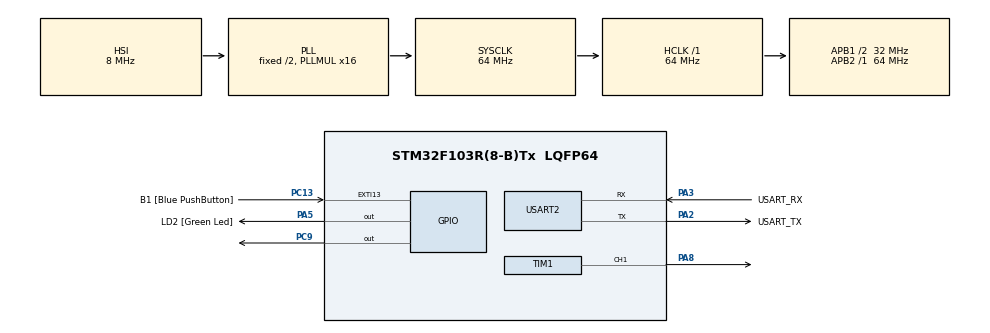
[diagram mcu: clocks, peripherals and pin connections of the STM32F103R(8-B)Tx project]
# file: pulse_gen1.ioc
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Mcu.Family=STM32F1
Mcu.Name=STM32F103R(8-B)Tx
Mcu.Package=LQFP64
NVIC.EXTI15_10_IRQn=true\:0\:0\:false\:false\:true\:true\:true\:true
NVIC.PriorityGroup=NVIC_PRIORITYGROUP_4
NVIC.TIM1_TRG_COM_IRQn=true\:0\:0\:false\:false\:true\:true\:true\:true
PA13.GPIO_Label=TMS
PA13.Mode=Serial_Wire
PA13.Signal=SYS_JTMS-SWDIO
PA14.GPIO_Label=TCK
PA14.Mode=Serial_Wire
PA14.Signal=SYS_JTCK-SWCLK
PA2.GPIO_Label=USART_TX
PA2.GPIO_Mode=GPIO_MODE_AF_PP
PA2.GPIO_PuPd=GPIO_NOPULL
PA2.GPIO_Speed=GPIO_SPEED_FREQ_LOW
PA2.Mode=Asynchronous
PA2.Signal=USART2_TX
PA3.GPIO_Label=USART_RX
PA3.GPIO_Mode=GPIO_MODE_AF_PP
PA3.GPIO_PuPd=GPIO_NOPULL
PA3.GPIO_Speed=GPIO_SPEED_FREQ_LOW
PA3.Mode=Asynchronous
PA3.Signal=USART2_RX
PA5.GPIO_Label=LD2 [Green Led]
PA5.GPIO_ModeDefaultOutputPP=GPIO_MODE_OUTPUT_PP
PA5.GPIO_PuPd=GPIO_NOPULL
PA5.GPIO_Speed=GPIO_SPEED_FREQ_LOW
PA5.Signal=GPIO_Output
PA8.GPIO_Speed=GPIO_SPEED_FREQ_HIGH
PA8.Signal=S_TIM1_CH1
PB3.GPIO_Label=SWO
PB3.Signal=SYS_JTDO-TRACESWO
PC13-TAMPER-RTC.GPIO_Label=B1 [Blue PushButton]
PC13-TAMPER-RTC.GPIO_PuPd=GPIO_NOPULL
PC13-TAMPER-RTC.Signal=GPXTI13
PC14-OSC32_IN.Mode=LSE-External-Oscillator
PC14-OSC32_IN.Signal=RCC_OSC32_IN
PC15-OSC32_OUT.Mode=LSE-External-Oscillator
PC15-OSC32_OUT.Signal=RCC_OSC32_OUT
PC9.Signal=GPIO_Output
PD0-OSC_IN.Mode=HSE-External-Clock-Source
PD0-OSC_IN.Signal=RCC_OSC_IN
PD1-OSC_OUT.Mode=HSE-External-Clock-Source
PD1-OSC_OUT.Signal=RCC_OSC_OUT
ProjectManager.HeapSize=0x200
ProjectManager.StackSize=0x400
ProjectManager.TargetToolchain=STM32CubeIDE
RCC.AHBFreq_Value=64000000
RCC.APB1CLKDivider=RCC_HCLK_DIV2
RCC.APB1Freq_Value=32000000
RCC.APB1TimFreq_Value=64000000
RCC.APB2Freq_Value=64000000
RCC.APB2TimFreq_Value=64000000
RCC.HCLKFreq_Value=64000000
RCC.PLLMUL=RCC_PLL_MUL16
RCC.RTCClockSelection=RCC_RTCCLKSOURCE_LSE
RCC.SYSCLKFreq_VALUE=64000000
RCC.SYSCLKSource=RCC_SYSCLKSOURCE_PLLCLK
RCC.USBFreq_Value=64000000
SH.S_TIM1_CH1.0=TIM1_CH1,PWM Generation1 CH1
TIM1.AutoReloadPreload=TIM_AUTORELOAD_PRELOAD_ENABLE
TIM1.Channel-PWM\ Generation1\ CH1=TIM_CHANNEL_1
TIM1.ClockDivision=TIM_CLOCKDIVISION_DIV1
TIM1.Period=63999
TIM1.Prescaler=0
USART2.VirtualMode=VM_ASYNC
VP_TIM1_VS_ClockSourceINT.Mode=Internal
board=NUCLEO-F103RB

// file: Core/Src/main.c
/* USER CODE BEGIN Header */
/**
  ******************************************************************************
  * @file           : main.c
  * @brief          : Main program body
  ******************************************************************************
  * @attention
  *
  * Copyright (c) 2024 STMicroelectronics.
  * All rights reserved.
  *
  * This software is licensed under terms that can be found in the LICENSE file
  * in the root directory of this software component.
  * If no LICENSE file comes with this software, it is provided AS-IS.
  *
  ******************************************************************************
  */
/* USER CODE END Header */
#include "main.h"

/* USER CODE BEGIN Includes */
#include <inttypes.h>

/* USER CODE END Includes */

/* USER CODE BEGIN PD */

// parametric variables

#define PULSE_DURATION 100

#define DUTY 			50

#define TRIANGLE_UP 	70
#define TRIANGLE_DOWN 	50

#define TRAPEZE_UP 		25
#define TRAPEZE_DOWN 	25

// const variables

#define MAX_CCR 64000

#define TRIANGLE_UP_DURATION 	TRIANGLE_UP
#define TRIANGLE_DOWN_DURATION 	TRIANGLE_DOWN

#define TRAPEZE_UP_DURATION 	PULSE_DURATION - \
								TRAPEZE_UP - \
								TRAPEZE_DOWN

#define UP_DURATION 	(PULSE_DURATION - (PULSE_DURATION/100)*(100-DUTY))

/* USER CODE END PD */

TIM_HandleTypeDef htim1;

UART_HandleTypeDef huart2;

/* USER CODE BEGIN PV */

// mode variable. 0 - pulse, 1 - triangle, 2 - trapeze
uint8_t mode;
// directional. 0 - default
uint8_t direction = 0;
uint16_t start_time = 0;

/* USER CODE END PV */

void SystemClock_Config(void);
static void MX_GPIO_Init(void);
static void MX_USART2_UART_Init(void);
static void MX_TIM1_Init(void);

int main(void)
{

  /* MCU Configuration--------------------------------------------------------*/

  /* Reset of all peripherals, Initializes the Flash interface and the Systick. */
  HAL_Init();

  /* Configure the system clock */
  SystemClock_Config();

  /* Initialize all configured peripherals */
  MX_GPIO_Init();
  MX_USART2_UART_Init();
  MX_TIM1_Init();
  /* USER CODE BEGIN 2 */

  mode = 0; // init mode. pulse
  uint32_t i = 0;

  // var for trianlge
  uint8_t test_triangle = 0;
  uint32_t triangle_cur_time = 0;
  uint32_t triangle_up_time = 0;
  uint32_t step_count = 0; // num of write iteration in 1ms
  uint16_t i_step_up = 0;
  uint16_t i_step_down = 0;

  // var for trapeze and
  uint32_t trapeze_up_time = 0;
  uint8_t test_trapeze = 0;

//  uint16_t cur_time = HAL_GetTick();
  uint16_t up_time = 0;

  /* USER CODE END 2 */

  /* Infinite loop */
  /* USER CODE BEGIN WHILE */
  HAL_TIM_PWM_Start(&htim1, TIM_CHANNEL_1);

  while (1)
  {
	  HAL_GPIO_TogglePin(GPIOC , GPIO_PIN_9);

	  if(mode == 0)	// pulse
	  {
		  if(direction == 0)
		  {
			  if(start_time == 0)
				  start_time = HAL_GetTick();

			  up_time = HAL_GetTick();

			  if(up_time - start_time == UP_DURATION)
			  {
				  TIM1->CCR1=MAX_CCR;
				  direction = 1;
			  }
		  }
		  else
		  {
			  up_time = HAL_GetTick();

			  if(up_time - start_time >= PULSE_DURATION)
			  {
				  TIM1->CCR1= 0;
				  direction = 0;
				  start_time = 0;
			  }
		  }
	  }
	  else if(mode == 1)	//	triangle
	  {
		  if(test_triangle == 0)
		  {

			  if(triangle_cur_time == 0)
			  {
				  triangle_cur_time = HAL_GetTick();
				  i = 0;
			  }

			  if(direction == 0)
			  {
				  TIM1->CCR1=++i;
				  if(i >= MAX_CCR)
				  {
					  direction = 1;
					  triangle_up_time = HAL_GetTick() - triangle_cur_time;
				  }
			  }
			  else
			  {
				  TIM1->CCR1=--i;
				  if(i == 0)
					  direction = 0;

				  test_triangle = 1;
			  }

			  if(test_triangle == 1)
			  {
				  step_count = (MAX_CCR / triangle_up_time) * TRIANGLE_UP;
				  i_step_up = MAX_CCR / step_count;
				  i_step_down = triangle_up_time / TRIANGLE_DOWN;
			  }
		  }
		  else
		  {
			  if(direction == 0)
			  {
				  TIM1->CCR1=i;
				  i=i+i_step_up;
				  if(i >= MAX_CCR)
					  direction = 1;
			  }
			  else
			  {
				  TIM1->CCR1=i;
				  i=i-i_step_down;
				  if(i <= i_step_down)
					  direction = 0;
			  }
		  }

	  }
	  else if(mode == 2)	// trapeze
	  {
		  if(test_trapeze == 0)
		  {
			  i = 0;
			  step_count = (MAX_CCR / triangle_up_time) * TRAPEZE_UP;
			  i_step_up = MAX_CCR / step_count;
			  i_step_down = triangle_up_time / TRAPEZE_DOWN;
			  test_trapeze = 1;
		  }

		  if(direction == 0)
		  {
			  TIM1->CCR1=i;
			  i = i + i_step_up;

			  if(i == MAX_CCR)
				  direction = 1;
		  }
		  else if(direction == 1)
		  {
			  if(start_time == 0)
				  start_time = HAL_GetTick();

			  trapeze_up_time = HAL_GetTick();

			  if(trapeze_up_time - start_time > TRAPEZE_UP_DURATION)
			  {
				  direction++;
			  }
		  }
		  else
		  {
			  TIM1->CCR1=i;
			  i = i - i_step_down;

			  if(i <= i_step_down)
			  {
				  direction = 0;
				  start_time = 0;
			  }
		  }
	  }
    /* USER CODE END WHILE */

  }
}

void SystemClock_Config(void)
{
  RCC_OscInitTypeDef RCC_OscInitStruct = {0};
  RCC_ClkInitTypeDef RCC_ClkInitStruct = {0};

  /** Initializes the RCC Oscillators according to the specified parameters
  * in the RCC_OscInitTypeDef structure.
  */
  RCC_OscInitStruct.OscillatorType = RCC_OSCILLATORTYPE_HSI;
  RCC_OscInitStruct.HSIState = RCC_HSI_ON;
  RCC_OscInitStruct.HSICalibrationValue = RCC_HSICALIBRATION_DEFAULT;
  RCC_OscInitStruct.PLL.PLLState = RCC_PLL_ON;
  RCC_OscInitStruct.PLL.PLLSource = RCC_PLLSOURCE_HSI_DIV2;
  RCC_OscInitStruct.PLL.PLLMUL = RCC_PLL_MUL16;
  if (HAL_RCC_OscConfig(&RCC_OscInitStruct) != HAL_OK)
  {
    Error_Handler();
  }

  /** Initializes the CPU, AHB and APB buses clocks
  */
  RCC_ClkInitStruct.ClockType = RCC_CLOCKTYPE_HCLK|RCC_CLOCKTYPE_SYSCLK
                              |RCC_CLOCKTYPE_PCLK1|RCC_CLOCKTYPE_PCLK2;
  RCC_ClkInitStruct.SYSCLKSource = RCC_SYSCLKSOURCE_PLLCLK;
  RCC_ClkInitStruct.AHBCLKDivider = RCC_SYSCLK_DIV1;
  RCC_ClkInitStruct.APB1CLKDivider = RCC_HCLK_DIV2;
  RCC_ClkInitStruct.APB2CLKDivider = RCC_HCLK_DIV1;

  if (HAL_RCC_ClockConfig(&RCC_ClkInitStruct, FLASH_LATENCY_2) != HAL_OK)
  {
    Error_Handler();
  }
}

static void MX_TIM1_Init(void)
{

  TIM_ClockConfigTypeDef sClockSourceConfig = {0};
  TIM_MasterConfigTypeDef sMasterConfig = {0};
  TIM_OC_InitTypeDef sConfigOC = {0};
  TIM_BreakDeadTimeConfigTypeDef sBreakDeadTimeConfig = {0};

  htim1.Instance = TIM1;
  htim1.Init.Prescaler = 0;
  htim1.Init.CounterMode = TIM_COUNTERMODE_UP;
  htim1.Init.Period = 63999;
  htim1.Init.ClockDivision = TIM_CLOCKDIVISION_DIV1;
  htim1.Init.RepetitionCounter = 0;
  htim1.Init.AutoReloadPreload = TIM_AUTORELOAD_PRELOAD_ENABLE;
  if (HAL_TIM_Base_Init(&htim1) != HAL_OK)
  {
    Error_Handler();
  }
  sClockSourceConfig.ClockSource = TIM_CLOCKSOURCE_INTERNAL;
  if (HAL_TIM_ConfigClockSource(&htim1, &sClockSourceConfig) != HAL_OK)
  {
    Error_Handler();
  }
  if (HAL_TIM_PWM_Init(&htim1) != HAL_OK)
  {
    Error_Handler();
  }
  sMasterConfig.MasterOutputTrigger = TIM_TRGO_RESET;
  sMasterConfig.MasterSlaveMode = TIM_MASTERSLAVEMODE_DISABLE;
  if (HAL_TIMEx_MasterConfigSynchronization(&htim1, &sMasterConfig) != HAL_OK)
  {
    Error_Handler();
  }
  sConfigOC.OCMode = TIM_OCMODE_PWM1;
  sConfigOC.Pulse = 0;
  sConfigOC.OCPolarity = TIM_OCPOLARITY_HIGH;
  sConfigOC.OCNPolarity = TIM_OCNPOLARITY_HIGH;
  sConfigOC.OCFastMode = TIM_OCFAST_DISABLE;
  sConfigOC.OCIdleState = TIM_OCIDLESTATE_RESET;
  sConfigOC.OCNIdleState = TIM_OCNIDLESTATE_RESET;
  if (HAL_TIM_PWM_ConfigChannel(&htim1, &sConfigOC, TIM_CHANNEL_1) != HAL_OK)
  {
    Error_Handler();
  }
  sBreakDeadTimeConfig.OffStateRunMode = TIM_OSSR_DISABLE;
  sBreakDeadTimeConfig.OffStateIDLEMode = TIM_OSSI_DISABLE;
  sBreakDeadTimeConfig.LockLevel = TIM_LOCKLEVEL_OFF;
  sBreakDeadTimeConfig.DeadTime = 0;
  sBreakDeadTimeConfig.BreakState = TIM_BREAK_DISABLE;
  sBreakDeadTimeConfig.BreakPolarity = TIM_BREAKPOLARITY_HIGH;
  sBreakDeadTimeConfig.AutomaticOutput = TIM_AUTOMATICOUTPUT_DISABLE;
  if (HAL_TIMEx_ConfigBreakDeadTime(&htim1, &sBreakDeadTimeConfig) != HAL_OK)
  {
    Error_Handler();
  }
  HAL_TIM_MspPostInit(&htim1);

}

static void MX_USART2_UART_Init(void)
{

  huart2.Instance = USART2;
  huart2.Init.BaudRate = 115200;
  huart2.Init.WordLength = UART_WORDLENGTH_8B;
  huart2.Init.StopBits = UART_STOPBITS_1;
  huart2.Init.Parity = UART_PARITY_NONE;
  huart2.Init.Mode = UART_MODE_TX_RX;
  huart2.Init.HwFlowCtl = UART_HWCONTROL_NONE;
  huart2.Init.OverSampling = UART_OVERSAMPLING_16;
  if (HAL_UART_Init(&huart2) != HAL_OK)
  {
    Error_Handler();
  }

}

static void MX_GPIO_Init(void)
{
  GPIO_InitTypeDef GPIO_InitStruct = {0};

  /* GPIO Ports Clock Enable */
  __HAL_RCC_GPIOC_CLK_ENABLE();
  __HAL_RCC_GPIOD_CLK_ENABLE();
  __HAL_RCC_GPIOA_CLK_ENABLE();
  __HAL_RCC_GPIOB_CLK_ENABLE();

  /*Configure GPIO pin Output Level */
  HAL_GPIO_WritePin(LD2_GPIO_Port, LD2_Pin, GPIO_PIN_RESET);

  /*Configure GPIO pin Output Level */
  HAL_GPIO_WritePin(GPIOC, GPIO_PIN_9, GPIO_PIN_RESET);

  /*Configure GPIO pin : B1_Pin */
  GPIO_InitStruct.Pin = B1_Pin;
  GPIO_InitStruct.Mode = GPIO_MODE_IT_RISING;
  GPIO_InitStruct.Pull = GPIO_NOPULL;
  HAL_GPIO_Init(B1_GPIO_Port, &GPIO_InitStruct);

  /*Configure GPIO pin : LD2_Pin */
  GPIO_InitStruct.Pin = LD2_Pin;
  GPIO_InitStruct.Mode = GPIO_MODE_OUTPUT_PP;
  GPIO_InitStruct.Pull = GPIO_NOPULL;
  GPIO_InitStruct.Speed = GPIO_SPEED_FREQ_LOW;
  HAL_GPIO_Init(LD2_GPIO_Port, &GPIO_InitStruct);

  /*Configure GPIO pin : PC9 */
  GPIO_InitStruct.Pin = GPIO_PIN_9;
  GPIO_InitStruct.Mode = GPIO_MODE_OUTPUT_PP;
  GPIO_InitStruct.Pull = GPIO_NOPULL;
  GPIO_InitStruct.Speed = GPIO_SPEED_FREQ_LOW;
  HAL_GPIO_Init(GPIOC, &GPIO_InitStruct);

  /* EXTI interrupt init*/
  HAL_NVIC_SetPriority(EXTI15_10_IRQn, 0, 0);
  HAL_NVIC_EnableIRQ(EXTI15_10_IRQn);

}

/* USER CODE BEGIN 4 */
void HAL_GPIO_EXTI_Callback(uint16_t GPIO_Pin)
{
  /* Prevent unused argument(s) compilation warning */
  UNUSED(GPIO_Pin);

  (mode < 2) ? (mode++) : (mode = 0);
  direction = 0;
  start_time = 0;
  /* NOTE: This function Should not be modified, when the callback is needed,
           the HAL_GPIO_EXTI_Callback could be implemented in the user file
   */
}
/* USER CODE END 4 */

void Error_Handler(void)
{
  __disable_irq();
  while (1)
  {
  }
}
